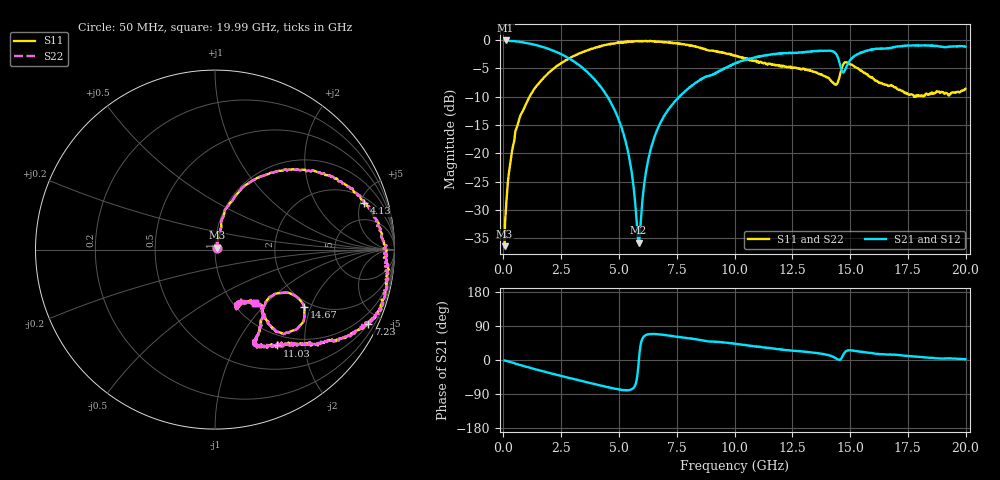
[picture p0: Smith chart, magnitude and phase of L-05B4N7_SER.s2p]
! Data Taken on a HP 8720C VNA using a series-through fixture with TRL* de-embedding
#	mhz	s	ma	r	50
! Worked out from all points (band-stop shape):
!   998 points, 50 MHz to 19.99 GHz, reference 50 ohm
!   highest |S21| = -0.08 dB at 90 MHz (marker M1); lowest = -35.8 dB at 5.85 GHz (marker M2)
!   |S21| within 3 dB of the highest: 10.9 GHz to 14.48 GHz (3.573 GHz wide, 28.2 % of centre); 15.11 GHz to end of sweep (the widest 2 of 3)
!   lowest |S11| = -36.4 dB at 50 MHz (marker M3), VSWR 1.03, Z = 51 + j1.14 ohm
!   |S11| at or under -10 dB: start of sweep to 1.128 GHz; 17.76644 GHz to 17.79591 GHz (29.47 MHz wide, 0.166 % of centre); 17.84853 GHz to 17.85327 GHz (4.74 MHz wide, 0.0266 % of centre)
!   |S22| runs from -36.4 to -0.1 dB; largest |S21 - S12| = 0
!   S11 on the Smith chart (normalised r, x): 50 MHz: 1.02, +0.02; 4.13 GHz: 2.55, +5.45; 7.23 GHz: 0.51, -4.27; 11.03 GHz: 0.83, -1.50; 14.67 GHz: 1.83, -1.81; 19.99 GHz: 1.25, -0.86
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50  0.01515 47.5  0.9891 -1.4  0.9891 -1.4  0.01515 47.5
90  0.02874 70.0  0.9907 -1.9  0.9907 -1.9  0.02874 70.0
330  0.09271 72.8  0.9785 -5.7  0.9785 -5.7  0.09271 72.8
790  0.2274 76.0  0.9573 -14.5  0.9573 -14.5  0.2274 76.0
2090  0.541 52.8  0.8112 -35.6  0.8112 -35.6  0.541 52.8
3390  0.7756 30.6  0.5748 -55.6  0.5748 -55.6  0.7756 30.6
4130  0.8714 17.2  0.4042 -66.5  0.4042 -66.5  0.8714 17.2
5270  0.9686 -5.1  0.1319 -79.9  0.1319 -79.9  0.9686 -5.1
5550  0.9778 -9.8  0.06824 -77.1  0.06824 -77.1  0.9778 -9.8
5850  0.972 -13.6  0.01622 -7.3  0.01622 -7.3  0.972 -13.6
6210  0.9737 -18.6  0.07674 66.8  0.07674 66.8  0.9737 -18.6
6710  0.9669 -22.5  0.1712 67.9  0.1712 67.9  0.9669 -22.5
7230  0.9488 -26.0  0.2579 63.4  0.2579 63.4  0.9488 -26.0
10030  0.7293 -46.3  0.6231 43.0  0.6231 43.0  0.7293 -46.3
11030  0.636 -57.1  0.7095 34.8  0.7095 34.8  0.636 -57.1
13350  0.5299 -63.4  0.7904 19.6  0.7904 19.6  0.5299 -63.4
14290  0.416 -48.4  0.7908 7.7  0.7908 7.7  0.416 -48.4
14670  0.5919 -32.8  0.525 9.5  0.525 9.5  0.5919 -32.8
15050  0.6079 -50.5  0.6882 25.0  0.6882 25.0  0.6079 -50.5
16670  0.3942 -50.6  0.8452 14.5  0.8452 14.5  0.3942 -50.6
18670  0.3397 -70.4  0.8828 4.5  0.8828 4.5  0.3397 -70.4
19990  0.3707 -52.7  0.8746 2.2  0.8746 2.2  0.3707 -52.7
